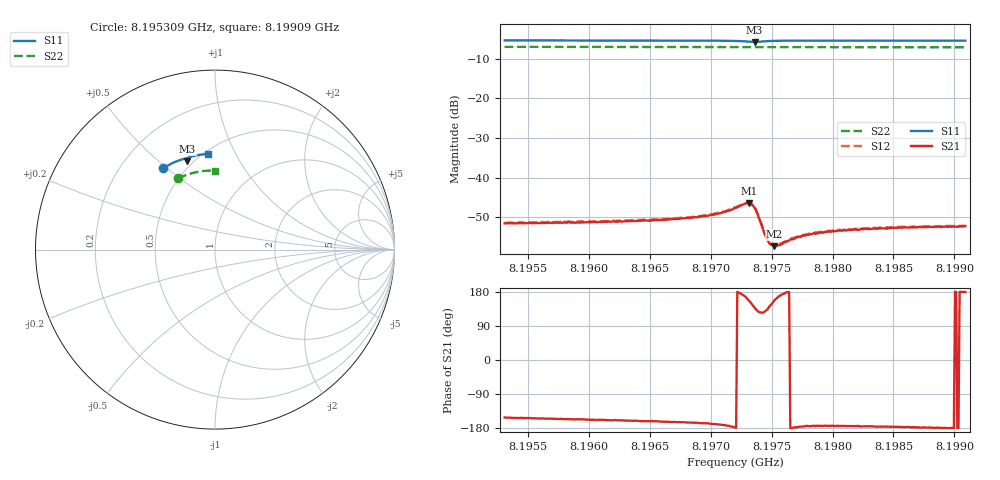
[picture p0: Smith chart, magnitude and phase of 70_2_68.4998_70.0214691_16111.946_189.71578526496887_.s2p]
#  HZ  S  RI  R  50.00
! Rohde & Schwarz Vector Network Analyzer
! Rohde-Schwarz,ZNB20-2Port,1311601062101988,3.16
! Created: UTC 3/20/2024, 4:51:42 PM
! freq[Hz]  re:S11  im:S11  re:S21  im:S21  re:S12  im:S12  re:S22  im:S22
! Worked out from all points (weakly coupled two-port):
!   401 points, 8.195309 GHz to 8.19909 GHz, reference 50 ohm
!   highest |S21| = -46.39 dB at 8.197313 GHz (marker M1); lowest = -57.2 dB at 8.197521 GHz (marker M2)
!   lowest |S11| = -5.8 dB at 8.19736 GHz (marker M3), VSWR 3.13, Z = 23.3 + j31.2 ohm
!   |S11| at or under -10 dB: nowhere
!   |S22| runs from -7.1 to -7.0 dB; largest |S21 - S12| = 0.00023
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8.1953086e9  -0.2897 0.4531  -0.00234 -0.00126  -0.00244 -0.0012  -0.205 0.3972
8.195942e9  -0.2503 0.4753  -0.00252 -0.00109  -0.00265 -0.001  -0.1723 0.4113
8.1965754e9  -0.2087 0.4941  -0.00281 -0.000904  -0.00289 -0.000805  -0.139 0.4228
8.1969252e9  -0.1838 0.5028  -0.00317 -0.000738  -0.00325 -0.000642  -0.1199 0.4279
8.1970859e9  -0.1706 0.5061  -0.00354 -0.000587  -0.00365 -0.000442  -0.111 0.43
8.1971994e9  -0.1595 0.5062  -0.00414 -0.000154  -0.00424 2.08e-05  -0.1047 0.4313
8.197275e9  -0.1515 0.5018  -0.00459 0.00088  -0.0046 0.00111  -0.1007 0.432
8.1973128e9  -0.1498 0.4967  -0.00443 0.00184  -0.00441 0.00205  -0.0984 0.4322
8.1973412e9  -0.1517 0.4927  -0.00376 0.00253  -0.00374 0.00275  -0.0971 0.4324
8.1973601e9  -0.1545 0.4915  -0.00309 0.00279  -0.00304 0.00297  -0.096 0.4327
8.1973884e9  -0.1588 0.4928  -0.00206 0.00262  -0.00201 0.00275  -0.0946 0.433
8.1974357e9  -0.161 0.4994  -0.00123 0.0017  -0.00122 0.00176  -0.0923 0.4336
8.1974641e9  -0.1599 0.5032  -0.00114 0.00121  -0.00114 0.00125  -0.0907 0.4339
8.1974924e9  -0.1578 0.506  -0.00118 0.000824  -0.00115 0.000911  -0.0889 0.4343
8.1975208e9  -0.1556 0.5082  -0.00126 0.000557  -0.00127 0.000596  -0.0875 0.4346
8.1975681e9  -0.1515 0.5111  -0.00139 0.000256  -0.00144 0.000326  -0.0847 0.4351
8.197672e9  -0.1428 0.5152  -0.00168 -3.37e-05  -0.00176 1.6e-05  -0.079 0.436
8.1977382e9  -0.1376 0.5169  -0.00179 -0.000137  -0.00185 -5.57e-05  -0.0752 0.4367
8.1978328e9  -0.1304 0.5189  -0.00196 -0.000206  -0.00197 -0.000126  -0.07 0.4372
8.1980407e9  -0.115 0.5228  -0.00214 -0.000237  -0.00219 -0.000155  -0.0584 0.4387
8.1984662e9  -0.0845 0.5282  -0.00231 -0.00015  -0.00236 -9.57e-05  -0.0342 0.4405
8.1990901e9  -0.0401 0.5329  -0.00246 2.74e-05  -0.00246 0.000147  0.000882 0.4406
